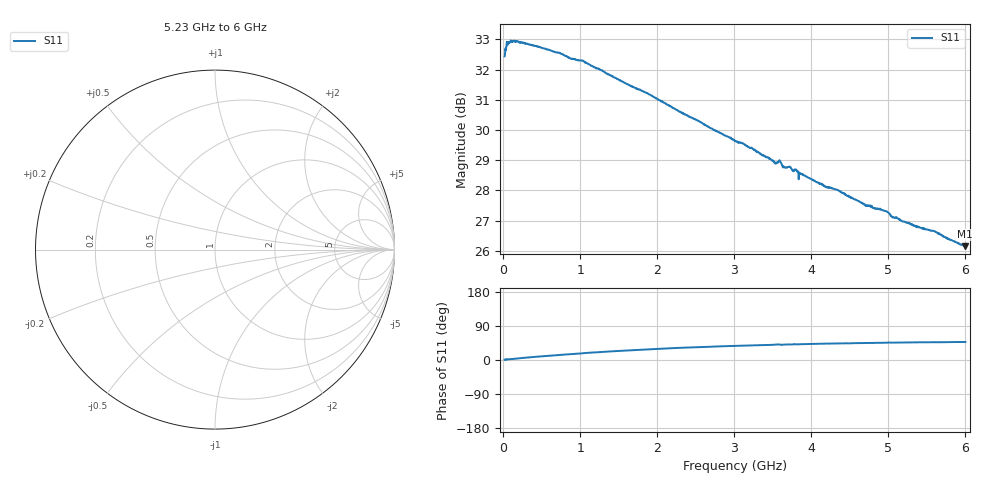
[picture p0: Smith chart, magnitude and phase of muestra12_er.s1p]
! NanoVNA-UTN-Toolkit permittivity export -- NOT S-parameters
! ES: Permitividad relativa compleja de la muestra. NO es S11: se guarda en
! ES: formato Touchstone solo para poder graficarla con visores de .s1p.
! EN: Complex relative permittivity of the sample. NOT S11: the Touchstone
! EN: format is used only so that .s1p viewers can plot it.
! Columns / Columnas: f (Hz) | eps' | eps'' (loss >= 0); eps_r = eps' - j*eps''
! Sample / Muestra: muestra12
! Technique / Tecnica: Open-ended coaxial probe (liquids)
! References / Referencias: water + ipa
! Probe / Sonda: 3 mm probe (C0 0.019 pF)
! Temperature / Temperatura: 23.0 °C
! Reliable from 45 MHz: points below are not reliable / Confiable desde 45 MHz: los puntos inferiores no son confiables
! Spike removal replaced 1 isolated S11 point(s) before solving / La remocion de picos reemplazo 1 punto(s) aislado(s) de S11
! 2 point(s) without a solution omitted / 2 punto(s) sin solucion omitidos
! Exported / Exportado: 2026-10-24T12:39:19
# Hz S RI R 50
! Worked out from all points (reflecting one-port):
!   1198 points, 15 MHz to 6 GHz, reference 50 ohm
!   lowest |S11| = 26.2 dB at 5.995 GHz (marker M1)
!   phase of S11 starts at 1 deg and turns +47 deg over the sweep
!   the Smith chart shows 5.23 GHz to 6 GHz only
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1.5e7  41.87 0.3718
5e7  43.74 0.8847
7e7  44.16 1.468
1.6e8  44.16 2.833
3.8e8  43.28 5.883
7.65e8  40.98 10.15
8.7e8  40.06 11.11
1.02e9  39.26 12.5
1.095e9  38.51 13.22
1.515e9  34.89 15.7
1.78e9  32.8 16.74
2.26e9  28.92 18.02
3.01e9  24.17 18.31
3.545e9  21.15 18.23
3.57e9  21.09 18.33
3.6e9  21.33 18.12
3.655e9  20.71 17.95
3.725e9  20.7 18.05
3.76e9  20.31 17.85
4.175e9  18.66 17.38
4.505e9  17.57 17.02
4.695e9  16.91 16.74
4.995e9  16.07 16.58
5.07e9  15.79 16.27
5.255e9  15.29 16.05
5.58e9  14.68 15.76
5.995e9  13.68 15.01
6e9  13.71 15.01
